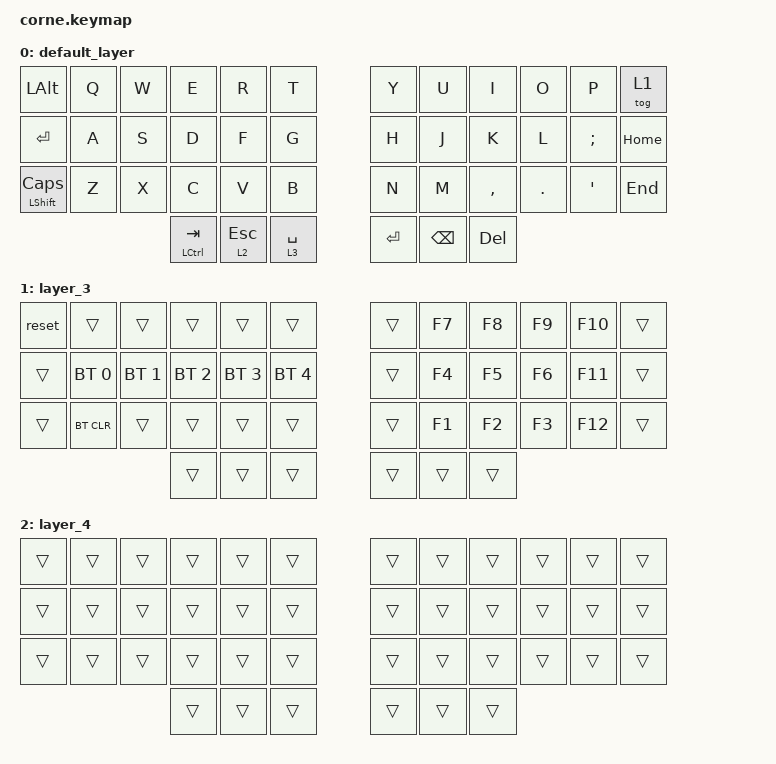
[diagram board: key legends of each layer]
/*
 * Copyright (c) 2020 The ZMK Contributors
 *
 * SPDX-License-Identifier: MIT
 */

#include <behaviors.dtsi>
#include <dt-bindings/zmk/bt.h>
#include <dt-bindings/zmk/keys.h>

/ {
    macros {
        new_macro: new_macro {
            compatible = "zmk,behavior-macro";
            label = "NEW_MACRO";
            #binding-cells = <0>;
            bindings = <&none>;
        };
    };

    keymap {
        compatible = "zmk,keymap";

        default_layer {
            // -----------------------------------------------------------------------------------------
            // |  TAB |  Q  |  W  |  E  |  R  |  T  |   |  Y  |  U   |  I  |  O  |  P  | BKSP |
            // | CTRL |  A  |  S  |  D  |  F  |  G  |   |  H  |  J   |  K  |  L  |  ;  |  '   |
            // | SHFT |  Z  |  X  |  C  |  V  |  B  |   |  N  |  M   |  ,  |  .  |  /  | ESC  |
            //                    | GUI | LWR | SPC |   | ENT | RSE  | ALT |

            bindings = <
&kp LALT             &kp Q  &kp W  &kp E          &kp R         &kp T          &kp Y      &kp U          &kp I       &kp O       &kp P          &tog 1
&kp ENTER            &kp A  &kp S  &kp D          &kp F         &kp G          &kp H      &kp J          &kp K       &kp L       &kp SEMICOLON  &kp HOME
&mt LEFT_SHIFT CAPS  &kp Z  &kp X  &kp C          &kp V         &kp B          &kp N      &kp M          &kp COMMA   &kp PERIOD  &kp SQT        &kp END
                                   &mt LCTRL TAB  &lt 2 ESCAPE  &lt 3 SPACE    &kp ENTER  &kp BACKSPACE  &kp DELETE
            >;
        };

        layer_3 {
            bindings = <
&trans  &trans  &trans  &trans  &trans  &trans    &kp MINUS  &kp N7        &kp N8        &kp N9        &kp KP_SLASH  &trans
&trans  &trans  &trans  &trans  &trans  &trans    &kp PLUS   &kp NUMBER_4  &kp N5        &kp NUMBER_6  &kp ASTERISK  &trans
&trans  &trans  &trans  &trans  &trans  &trans    &kp EQUAL  &kp NUMBER_1  &kp NUMBER_2  &kp NUMBER_3  &kp KP_DOT    &trans
                        &trans  &trans  &trans    &trans     &kp N0        &trans
            >;
        };

        layer_3 {
            bindings = <
&trans  &kp PAGE_UP    &kp BACKSPACE   &kp UP_ARROW    &kp DELETE  &kp C_VOLUME_UP      &kp MINUS  &kp NUMBER_7  &kp NUMBER_8  &kp NUMBER_9  &kp KP_DIVIDE  &trans
&trans  &kp PAGE_DOWN  &kp LEFT_ARROW  &kp DOWN_ARROW  &kp RIGHT   &kp C_VOLUME_DOWN    &kp PLUS   &kp NUMBER_4  &kp NUMBER_5  &kp NUMBER_6  &kp ASTERISK   &trans
&trans  &kp LG(D)      &kp LG(L)       &kp LG(E)       &kp LG(V)   &kp C_MUTE           &kp EQUAL  &kp NUMBER_1  &kp NUMBER_2  &kp NUMBER_3  &kp KP_DOT     &trans
                                       &trans          &trans      &trans               &trans     &kp N0        &trans
            >;
        };

        layer_3 {
            bindings = <
&reset  &trans        &trans        &trans        &trans        &trans          &trans  &kp F7  &kp F8  &kp F9  &kp F10  &trans
&trans  &bt BT_SEL 0  &bt BT_SEL 1  &bt BT_SEL 2  &bt BT_SEL 3  &bt BT_SEL 4    &trans  &kp F4  &kp F5  &kp F6  &kp F11  &trans
&trans  &bt BT_CLR    &trans        &trans        &trans        &trans          &trans  &kp F1  &kp F2  &kp F3  &kp F12  &trans
                                    &trans        &trans        &trans          &trans  &trans  &trans
            >;
        };

        layer_4 {
            bindings = <
&trans  &trans  &trans  &trans  &trans  &trans    &trans  &trans  &trans  &trans  &trans  &trans
&trans  &trans  &trans  &trans  &trans  &trans    &trans  &trans  &trans  &trans  &trans  &trans
&trans  &trans  &trans  &trans  &trans  &trans    &trans  &trans  &trans  &trans  &trans  &trans
                        &trans  &trans  &trans    &trans  &trans  &trans
            >;
        };
    };
};
